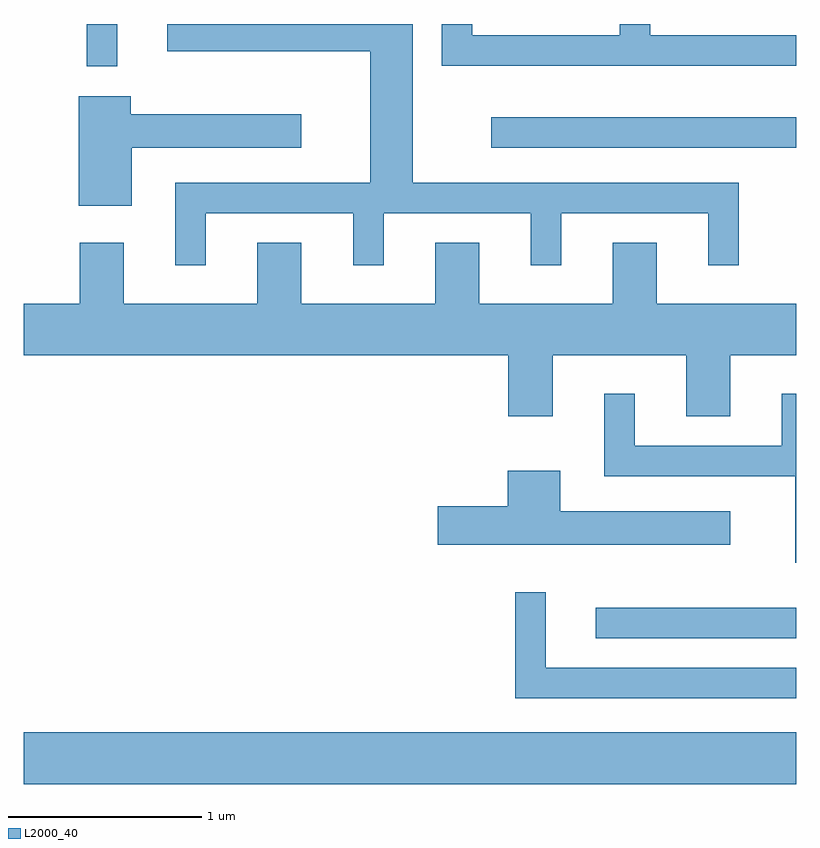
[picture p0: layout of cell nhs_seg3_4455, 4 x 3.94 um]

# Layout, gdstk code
import gdstk
lib = gdstk.Library(unit=1e-6, precision=1e-09)
def R(c, l, rs):  # rectangles x0, y0, x1, y1
    for r in rs: c.add(gdstk.rectangle(r[:2], r[2:], *l))
def P(c, l, *ps):  # polygons
    for p in ps: c.add(gdstk.Polygon(p, *l))
L2000_40 = (2000, 40)

nhs_seg3_4455 = lib.new_cell('nhs_seg3_4455')
R(nhs_seg3_4455, L2000_40, [(315.611,1185.956,319.611,1186.224), (318.573,1186.711,319.611,1186.869), (318.033,1189.251,319.611,1189.409), (315.936,1189.673,316.094,1189.892)])
P(nhs_seg3_4455, L2000_40, [(319.611,1189.834),(318.854,1189.834),(318.854,1189.892),(318.696,1189.892),(318.696,1189.834),(317.934,1189.834),(317.934,1189.892),(317.776,1189.892),(317.776,1189.676),(319.611,1189.676)],
  [(316.554,1188.911),(317.316,1188.911),(317.316,1188.643),(317.474,1188.643),(317.474,1188.911),(318.236,1188.911),(318.236,1188.643),(318.394,1188.643),(318.394,1188.911),(319.156,1188.911),(319.156,1188.643),(319.314,1188.643),(319.314,1189.069),(317.624,1189.069),(317.624,1189.892),(316.353,1189.892),(316.353,1189.751),(317.406,1189.751),(317.406,1189.069),(316.396,1189.069),(316.396,1188.643),(316.554,1188.643)],
  [(316.169,1189.251),(317.049,1189.251),(317.049,1189.424),(316.164,1189.424),(316.164,1189.519),(315.896,1189.519),(315.896,1188.951),(316.169,1188.951)],
  [(318.349,1188.176),(319.041,1188.176),(319.041,1187.861),(319.269,1187.861),(319.269,1188.176),(319.611,1188.176),(319.611,1188.444),(318.889,1188.444),(318.889,1188.759),(318.661,1188.759),(318.661,1188.444),(317.969,1188.444),(317.969,1188.759),(317.741,1188.759),(317.741,1188.444),(317.049,1188.444),(317.049,1188.759),(316.821,1188.759),(316.821,1188.444),(316.129,1188.444),(316.129,1188.759),(315.901,1188.759),(315.901,1188.444),(315.611,1188.444),(315.611,1188.176),(318.121,1188.176),(318.121,1187.861),(318.349,1187.861)],
  [(319.611,1187.978),(319.536,1187.978),(319.536,1187.709),(318.774,1187.709),(318.774,1187.978),(318.616,1187.978),(318.616,1187.551),(319.606,1187.551),(319.606,1187.101),(319.611,1187.101)],
  [(319.269,1187.369),(318.389,1187.369),(318.389,1187.579),(318.116,1187.579),(318.116,1187.394),(317.756,1187.394),(317.756,1187.196),(319.269,1187.196)],
  [(319.611,1186.559),(318.314,1186.559),(318.314,1186.948),(318.156,1186.948),(318.156,1186.401),(319.611,1186.401)])

lib.write_gds('nhs_seg3_4455.gds')
